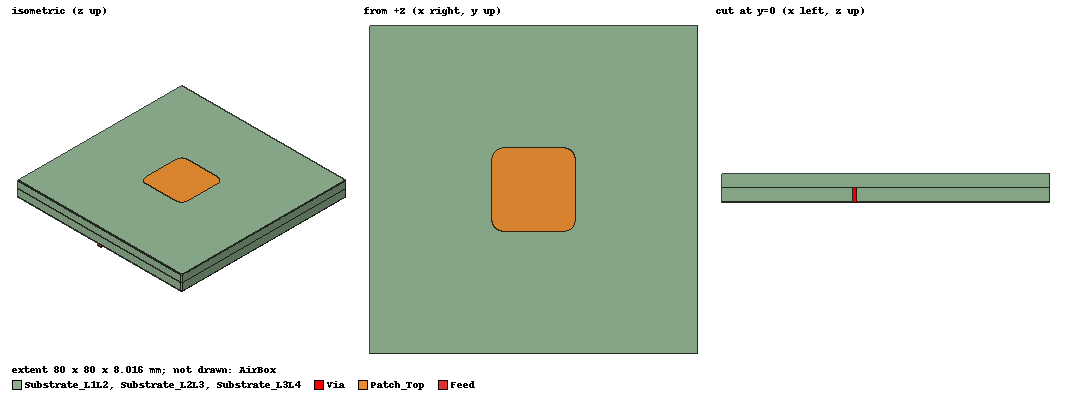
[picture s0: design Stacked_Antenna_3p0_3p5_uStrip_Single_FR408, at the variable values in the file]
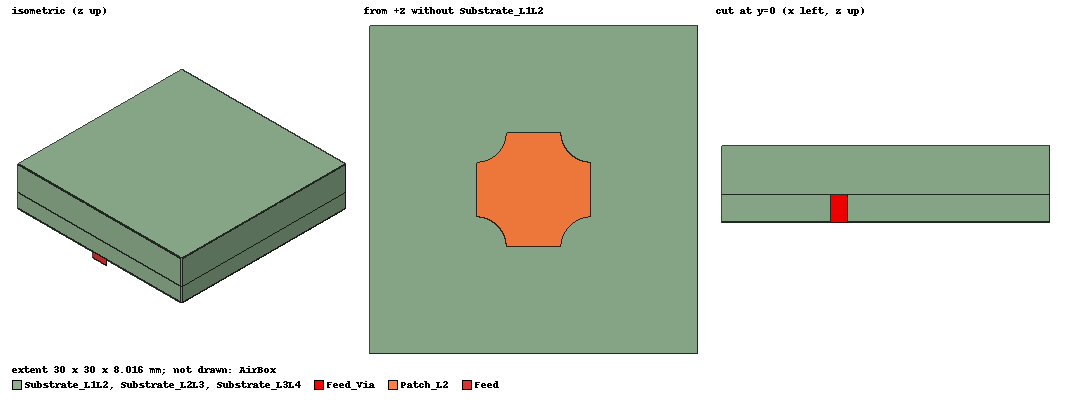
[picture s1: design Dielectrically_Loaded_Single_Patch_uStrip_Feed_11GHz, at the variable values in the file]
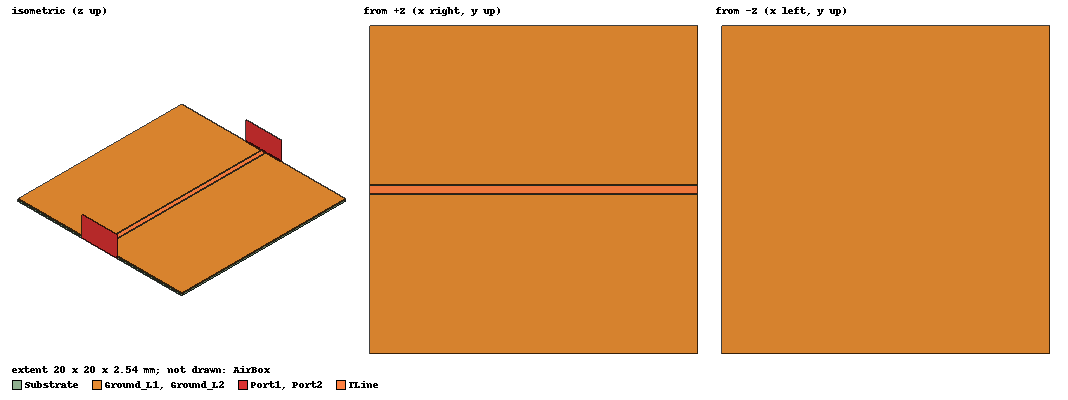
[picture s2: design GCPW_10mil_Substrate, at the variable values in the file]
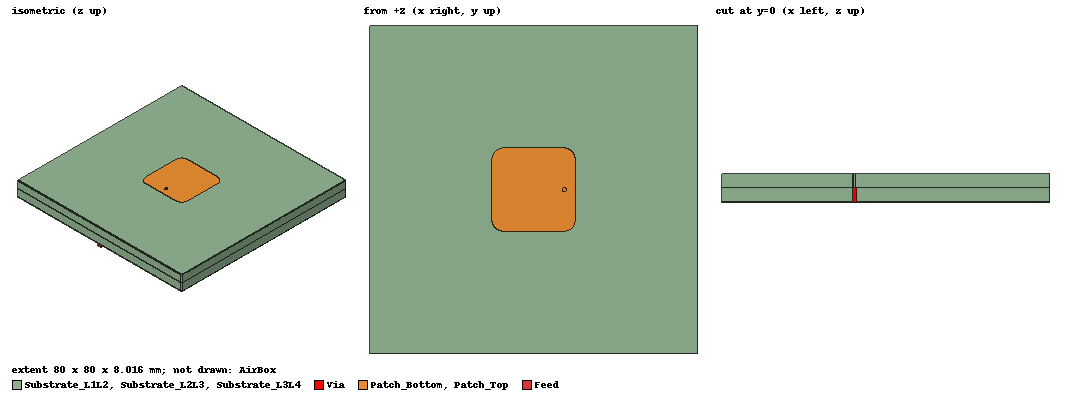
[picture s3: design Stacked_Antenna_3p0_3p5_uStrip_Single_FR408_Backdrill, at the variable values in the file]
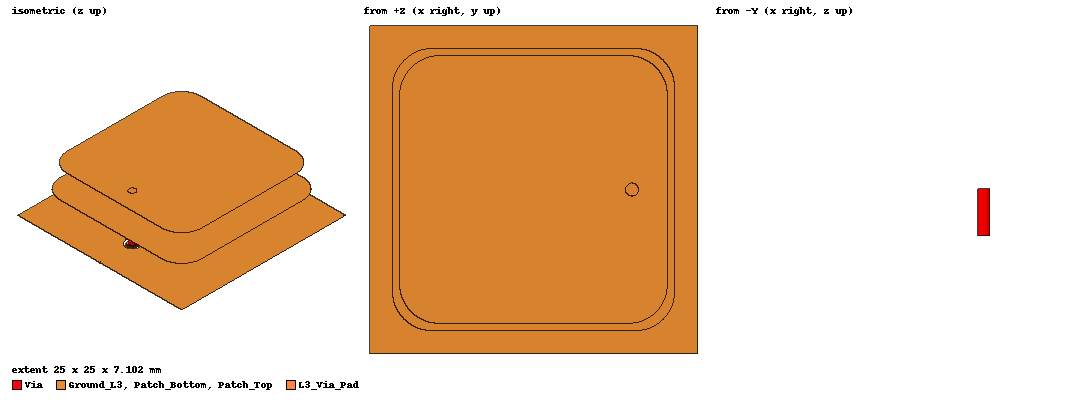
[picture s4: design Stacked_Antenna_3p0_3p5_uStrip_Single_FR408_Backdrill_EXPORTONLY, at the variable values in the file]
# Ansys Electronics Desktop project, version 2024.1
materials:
  vacuum: permittivity=1
  Isola I-Speed (R): permittivity=3.64 dielectric_loss_tangent=0.006
  pec: conductivity=1e+30
  Isola FR408HR: permittivity=3.68 dielectric_loss_tangent=0.0092
  408HR_Lossless: permittivity=3.68
  Rogers RT/duroid 5880 (tm): permittivity=2.2 dielectric_loss_tangent=0.0009

design Stacked_Antenna_3p0_3p5_Pin_Single_I-Speed (HFSS, HFSS Modal Network, model units mm)
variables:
  substrate = 80mm
  h_L1L2 = 3.25mm
  h_L2L3 = 3.25mm
  patch_top = 20.4mm
  patch_top_cutout = 3mm
  patch_bottom = 21.5mm
  patch_bottom_cutout = 3mm
  d_via = 0.8mm
  h_coax = 3mm
  d_coax = 3.92mm
  via_offset = 3.25mm
  h_airbox = 20mm
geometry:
  Substrate_L1L2 [Isola I-Speed (R)] = box(corner=(-substrate/2, -substrate/2, 0mm), size=(substrate, substrate, -h_L1L2))
  Substrate_L2L3 [Isola I-Speed (R)] = box(corner=(-substrate/2, -substrate/2, -h_L1L2), size=(substrate, substrate, -h_L2L3))
  Patch_Top = rectangle(corner=(-patch_top/2, -patch_top/2, 0mm), x_size=patch_top, y_size=patch_top)
  Top_Patch_Cutout = polyline(z=0mm, xy: (-patch_top/2, -patch_top/2) (-patch_top/2, -patch_top/2 + patch_top_cutout) (-patch_top/2 + patch_top_cutout, -patch_top/2) (-patch_top/2, -patch_top/2), closed, covered)
  Top_Patch_Cutout.duplicate_around_axis(axis=Z, angle=90deg, total=4, attached)
  Patch_Top.subtract(Top_Patch_Cutout)
  Circle1 = circle(normal=Z, centre=(-patch_top/2, -patch_top/2, 0mm), radius=patch_top_cutout)
  Circle1.move(patch_top_cutout, patch_top_cutout, 0mm)
  Circle1.duplicate_around_axis(axis=Z, angle=90deg, total=4, attached)
  Patch_Top.unite(Circle1)
  Patch_Bottom = rectangle(corner=(-patch_bottom/2, -patch_bottom/2, -h_L1L2), x_size=patch_bottom, y_size=patch_bottom)
  Polyline1 = polyline(z=-h_L1L2, xy: (-patch_bottom/2, -patch_bottom/2) (-patch_bottom/2, -patch_bottom/2 + patch_bottom_cutout) (-patch_bottom/2 + patch_bottom_cutout, -patch_bottom/2) (-patch_bottom/2, -patch_bottom/2), closed, covered)
  Polyline1.duplicate_around_axis(axis=Z, angle=90deg, total=4, attached)
  Patch_Bottom.subtract(Polyline1)
  Circle2 = circle(normal=Z, centre=(-patch_bottom/2, -patch_bottom/2, -h_L1L2), radius=patch_bottom_cutout)
  Circle2.move(patch_bottom_cutout, patch_bottom_cutout, 0mm)
  Circle2.duplicate_around_axis(axis=Z, angle=90deg, total=4, attached)
  Patch_Bottom.unite(Circle2)
  Via [pec] = cylinder(axis=Z, base_centre=(patch_bottom/2 - via_offset, 0mm, -h_L1L2), radius=d_via/2, height=-h_L2L3-h_coax)
  AirBox [vacuum] = box(corner=(-substrate/2, -substrate/2, -h_airbox/2), size=(substrate, substrate, h_airbox))
  Via_1 = Via.copy()
  Substrate_L2L3.subtract(Via_1)
  coax_dielectric [Isola I-Speed (R)] = cylinder(axis=Z, base_centre=(patch_bottom/2 - via_offset, 0mm, -h_L1L2-h_L2L3), radius=d_coax/2, height=-h_coax)
  Via_2 = Via.copy()
  coax_dielectric.subtract(Via_2)
  Wave_Port = circle(normal=Z, centre=(patch_bottom/2 - via_offset, 0mm, -h_L1L2-h_L2L3-h_coax), radius=d_coax/2)
  pecCap1 [pec] = sweep_along_normal(Wave_Port.face(at (7.5, 0, -9.5)), length=-0.42mm)
  coax_ground_shield = object_from(coax_dielectric.face(side))
  Ground_L3 = rectangle(corner=(-substrate/2, -substrate/2, -h_L1L2-h_L2L3), x_size=substrate, y_size=substrate)
  L3_Ground_Cutout = circle(normal=Z, centre=(patch_bottom/2 - via_offset, 0mm, -h_L1L2-h_L2L3), radius=d_coax/2)
  Ground_L3.subtract(L3_Ground_Cutout)
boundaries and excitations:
  PerfE_Patch_Top: Perfect E Objects=Patch_Top
  PerfE_Patch_Bottom: Perfect E Objects=Patch_Bottom
  Radiation: Radiation Objects=AirBox
  PerfE_Coax_Ground_Shield: Perfect E Objects=coax_ground_shield
  PerfE_Ground_L3: Perfect E Objects=Ground_L3
  1: Wave Port Objects=Wave_Port WavePortType=Modal NumModes=1 Modes{Mode1{CharImp=Zpi}}
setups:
  Setup1: HfssDriven Frequency=4GHz MaxDeltaS=0.01 MaximumPasses=20 MinimumPasses=1 MinimumConvergedPasses=1 PercentRefinement=30 BasisOrder=1 PortAccuracy=2 DrivenSolverType="Direct Solver"
    sweep Sweep: 2GHz to 5GHz, 401 points; Type=Interpolating SaveFields InterpTolerance=0.5 InterpMaxSolns=250 InterpUsePortImped=false PassivityErrorTolerance=0.0001
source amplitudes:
  1:1: 1W 0deg
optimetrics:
  ParametricSetup patch_top: Parametric disabled Sim._Setups=[Setup1]
    sweep patch_top: LIN 19mm 22mm 0.5mm
  ParametricSetup patch_bottom: Parametric disabled Sim._Setups=[Setup1]
    sweep patch_bottom: LIN 20mm 24mm 0.5mm
  ParametricSetup via_offset: Parametric disabled Sim._Setups=[Setup1]
    sweep via_offset: LIN 2mm 4mm 0.25mm
  ParametricSetup top_patch_cutout: Parametric disabled Sim._Setups=[Setup1]
    sweep patch_top_cutout: LIN 1mm 5mm 1mm
  ParametricSetup bottom_patch_cutout: Parametric disabled Sim._Setups=[Setup1]
    sweep patch_bottom_cutout: LIN 1mm 5mm 1mm
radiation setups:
  Infinite Sphere1: Infinite Sphere Theta=0deg..180deg step 2deg Phi=-180deg..180deg step 2deg
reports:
  Nominal: dB(S(1,1)) vs Freq on Setup1 : Sweep; markers m1 at 2.99GHz, m2 at 3.4925GHz
  patch_top: dB(S(1,1)) vs Freq on Setup1 : Sweep [patch_top=all]
  patch_bottom: dB(S(1,1)) vs Freq on Setup1 : Sweep [patch_bottom=all]
  via_offset: dB(S(1,1)) vs Freq on Setup1 : Sweep [via_offset=all]
  top_patch_cutout: dB(S(1,1)) vs Freq on Setup1 : Sweep [patch_top_cutout=all]
  bottom_patch_cutout: dB(S(1,1)) vs Freq on Setup1 : Sweep [patch_bottom_cutout=all]
  Gain Plot 1: GainTotal vs Phi, Theta on Setup1 : Sweep, Infinite Sphere1 [Freq=3.3125GHz]
  Realized Gain Plot 1: dB(RealizedGainTotal) vs Phi, Theta on Setup1 : Sweep, Infinite Sphere1 [Freq=3.3125GHz]

design Stacked_Antenna_3p0_3p5_Pin_Single_FR408 (HFSS, HFSS Modal Network, model units mm)
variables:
  substrate = 80mm
  h_L1L2 = 3.5mm
  h_L2L3 = 3.5mm
  patch_top = 20.4mm
  patch_top_cutout = 3mm
  patch_bottom = 21.5mm
  patch_bottom_cutout = 3mm
  d_via = 0.9mm
  h_coax = 3mm
  d_coax = 4.4mm
  via_offset = 3.25mm
  h_airbox = 30mm
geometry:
  Substrate_L1L2 [Isola FR408HR] = box(corner=(-substrate/2, -substrate/2, 0mm), size=(substrate, substrate, -h_L1L2))
  Substrate_L2L3 [Isola FR408HR] = box(corner=(-substrate/2, -substrate/2, -h_L1L2), size=(substrate, substrate, -h_L2L3))
  Patch_Top = rectangle(corner=(-patch_top/2, -patch_top/2, 0mm), x_size=patch_top, y_size=patch_top)
  Top_Patch_Cutout = polyline(z=0mm, xy: (-patch_top/2, -patch_top/2) (-patch_top/2, -patch_top/2 + patch_top_cutout) (-patch_top/2 + patch_top_cutout, -patch_top/2) (-patch_top/2, -patch_top/2), closed, covered)
  Top_Patch_Cutout.duplicate_around_axis(axis=Z, angle=90deg, total=4, attached)
  Patch_Top.subtract(Top_Patch_Cutout)
  Circle1 = circle(normal=Z, centre=(-patch_top/2, -patch_top/2, 0mm), radius=patch_top_cutout)
  Circle1.move(patch_top_cutout, patch_top_cutout, 0mm)
  Circle1.duplicate_around_axis(axis=Z, angle=90deg, total=4, attached)
  Patch_Top.unite(Circle1)
  Patch_Bottom = rectangle(corner=(-patch_bottom/2, -patch_bottom/2, -h_L1L2), x_size=patch_bottom, y_size=patch_bottom)
  Polyline1 = polyline(z=-h_L1L2, xy: (-patch_bottom/2, -patch_bottom/2) (-patch_bottom/2, -patch_bottom/2 + patch_bottom_cutout) (-patch_bottom/2 + patch_bottom_cutout, -patch_bottom/2) (-patch_bottom/2, -patch_bottom/2), closed, covered)
  Polyline1.duplicate_around_axis(axis=Z, angle=90deg, total=4, attached)
  Patch_Bottom.subtract(Polyline1)
  Circle2 = circle(normal=Z, centre=(-patch_bottom/2, -patch_bottom/2, -h_L1L2), radius=patch_bottom_cutout)
  Circle2.move(patch_bottom_cutout, patch_bottom_cutout, 0mm)
  Circle2.duplicate_around_axis(axis=Z, angle=90deg, total=4, attached)
  Patch_Bottom.unite(Circle2)
  Via [pec] = cylinder(axis=Z, base_centre=(patch_bottom/2 - via_offset, 0mm, -h_L1L2), radius=d_via/2, height=-h_L2L3-h_coax)
  AirBox [vacuum] = box(corner=(-substrate/2, -substrate/2, -h_airbox/2), size=(substrate, substrate, h_airbox))
  Via_1 = Via.copy()
  Substrate_L2L3.subtract(Via_1)
  coax_dielectric [Isola I-Speed (R)] = cylinder(axis=Z, base_centre=(patch_bottom/2 - via_offset, 0mm, -h_L1L2-h_L2L3), radius=d_coax/2, height=-h_coax)
  Via_2 = Via.copy()
  coax_dielectric.subtract(Via_2)
  Wave_Port = circle(normal=Z, centre=(patch_bottom/2 - via_offset, 0mm, -h_L1L2-h_L2L3-h_coax), radius=d_coax/2)
  pecCap1 [pec] = sweep_along_normal(Wave_Port.face(at (7.5, 0, -10)), length=-0.42mm)
  coax_ground_shield = object_from(coax_dielectric.face(side))
  Ground_L3 = rectangle(corner=(-substrate/2, -substrate/2, -h_L1L2-h_L2L3), x_size=substrate, y_size=substrate)
  L3_Ground_Cutout = circle(normal=Z, centre=(patch_bottom/2 - via_offset, 0mm, -h_L1L2-h_L2L3), radius=d_coax/2)
  Ground_L3.subtract(L3_Ground_Cutout)
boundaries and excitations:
  PerfE_Patch_Top: Perfect E Objects=Patch_Top
  PerfE_Patch_Bottom: Perfect E Objects=Patch_Bottom
  Radiation: Radiation Objects=AirBox
  PerfE_Coax_Ground_Shield: Perfect E Objects=coax_ground_shield
  PerfE_Ground_L3: Perfect E Objects=Ground_L3
  1: Wave Port Objects=Wave_Port WavePortType=Modal NumModes=1 Modes{Mode1{CharImp=Zpi}}
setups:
  Setup1: HfssDriven Frequency=3.5GHz MaxDeltaS=0.01 MaximumPasses=40 MinimumPasses=1 MinimumConvergedPasses=1 PercentRefinement=30 BasisOrder=1 PortAccuracy=2 DrivenSolverType="Direct Solver"
    sweep Sweep: 2.5GHz to 4GHz, 401 points; Type=Interpolating SaveFields InterpTolerance=0.5 InterpMaxSolns=250 InterpUsePortImped=false PassivityErrorTolerance=0.0001
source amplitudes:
  1:1: 1W 0deg
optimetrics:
  ParametricSetup patch_top: Parametric disabled Sim._Setups=[Setup1]
    sweep patch_top: LIN 20mm 20.8mm 0.1mm
  ParametricSetup patch_bottom: Parametric disabled Sim._Setups=[Setup1]
    sweep patch_bottom: LIN 21.1mm 21.9mm 0.1mm
  ParametricSetup via_offset: Parametric disabled Sim._Setups=[Setup1]
    sweep via_offset: LIN 3.05mm 3.45mm 0.1mm
  ParametricSetup top_patch_cutout: Parametric disabled Sim._Setups=[Setup1]
    sweep patch_top_cutout: LIN 2.6mm 3.4mm 0.2mm
  ParametricSetup bottom_patch_cutout: Parametric disabled Sim._Setups=[Setup1]
    sweep patch_bottom_cutout: LIN 2.6mm 3.4mm 0.2mm
  ParametricSetup d_via: Parametric disabled Sim._Setups=[Setup1]
    sweep d_via: LIN 0.9mm 1.3mm 0.1mm
  ParametricSetup d_coax: Parametric disabled Sim._Setups=[Setup1]
    sweep d_coax: LIN 3.84mm 4.4mm 0.08mm
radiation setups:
  Infinite Sphere1: Infinite Sphere Theta=0deg..180deg step 2deg Phi=-180deg..180deg step 2deg
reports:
  S Parameter Nominal: dB(S(1,1)) vs Freq on Setup1 : Sweep; markers m1 at 2.9675GHz, m2 at 3.53GHz
  patch_top: dB(S(1,1)) vs Freq on Setup1 : Sweep [patch_top=all]
  patch_bottom: dB(S(1,1)) vs Freq on Setup1 : Sweep [patch_bottom=all]
  via_offset: dB(S(1,1)) vs Freq on Setup1 : Sweep [via_offset=all]
  top_patch_cutout: dB(S(1,1)) vs Freq on Setup1 : Sweep [patch_top_cutout=all]
  bottom_patch_cutout: dB(S(1,1)) vs Freq on Setup1 : Sweep [patch_bottom_cutout=all]
  Smith - patch_top: S(1,1) on Setup1 : Sweep [Freq=all patch_top=all]; markers m1 at 3GHz, m2 at 3.5GHz
  Smith - patch_bottom: S(1,1) on Setup1 : Sweep [Freq=all patch_bottom=all]
  S Parameter - d_via: dB(S(1,1)) vs Freq on Setup1 : Sweep [d_via=all]
  Smith - d_via: S(1,1) on Setup1 : Sweep [Freq=all d_via=all]
  Realized Gain Plot 1: dB(RealizedGainTotal) vs Phi, Theta on Setup1 : Sweep, Infinite Sphere1 [Freq=3.4375GHz]

design Stacked_Antenna_3p0_3p5_uStrip_Single_FR408 (HFSS, HFSS Modal Network, model units mm)
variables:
  substrate = 80mm
  h_L1L2 = 3.5mm
  h_L2L3 = 3.5mm
  patch_top = 20.4mm
  patch_top_cutout = 3mm
  patch_bottom = 21.5mm
  patch_bottom_cutout = 3mm
  d_via = 0.9mm
  h_coax = 3mm
  d_coax = 2mm
  via_offset = 3.25mm
  h_airbox = 30mm
  h_L3L4 = 4mil
  uStrip = 9.4mil
  d_via_small = 6mil
  port_width = 10*uStrip
  d_L3_via_pad = 1.4mm
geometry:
  Substrate_L1L2 [Isola FR408HR] = box(corner=(-substrate/2, -substrate/2, 0mm), size=(substrate, substrate, -h_L1L2))
  Substrate_L2L3 [Isola FR408HR] = box(corner=(-substrate/2, -substrate/2, -h_L1L2), size=(substrate, substrate, -h_L2L3))
  Patch_Top = rectangle(corner=(-patch_top/2, -patch_top/2, 0mm), x_size=patch_top, y_size=patch_top)
  Top_Patch_Cutout = polyline(z=0mm, xy: (-patch_top/2, -patch_top/2) (-patch_top/2, -patch_top/2 + patch_top_cutout) (-patch_top/2 + patch_top_cutout, -patch_top/2) (-patch_top/2, -patch_top/2), closed, covered)
  Top_Patch_Cutout.duplicate_around_axis(axis=Z, angle=90deg, total=4, attached)
  Patch_Top.subtract(Top_Patch_Cutout)
  Circle1 = circle(normal=Z, centre=(-patch_top/2, -patch_top/2, 0mm), radius=patch_top_cutout)
  Circle1.move(patch_top_cutout, patch_top_cutout, 0mm)
  Circle1.duplicate_around_axis(axis=Z, angle=90deg, total=4, attached)
  Patch_Top.unite(Circle1)
  Patch_Bottom = rectangle(corner=(-patch_bottom/2, -patch_bottom/2, -h_L1L2), x_size=patch_bottom, y_size=patch_bottom)
  Polyline1 = polyline(z=-h_L1L2, xy: (-patch_bottom/2, -patch_bottom/2) (-patch_bottom/2, -patch_bottom/2 + patch_bottom_cutout) (-patch_bottom/2 + patch_bottom_cutout, -patch_bottom/2) (-patch_bottom/2, -patch_bottom/2), closed, covered)
  Polyline1.duplicate_around_axis(axis=Z, angle=90deg, total=4, attached)
  Patch_Bottom.subtract(Polyline1)
  Circle2 = circle(normal=Z, centre=(-patch_bottom/2, -patch_bottom/2, -h_L1L2), radius=patch_bottom_cutout)
  Circle2.move(patch_bottom_cutout, patch_bottom_cutout, 0mm)
  Circle2.duplicate_around_axis(axis=Z, angle=90deg, total=4, attached)
  Patch_Bottom.unite(Circle2)
  Via [pec] = cylinder(axis=Z, base_centre=(patch_bottom/2 - via_offset, 0mm, -h_L1L2), radius=d_via/2, height=-h_L2L3-h_L3L4)
  AirBox [vacuum] = box(corner=(-substrate/2, -substrate/2, -h_airbox/2), size=(substrate, substrate, h_airbox))
  Via_1 = Via.copy()
  Substrate_L2L3.subtract(Via_1)
  Ground_L3 = rectangle(corner=(-substrate/2, -substrate/2, -h_L1L2-h_L2L3), x_size=substrate, y_size=substrate)
  L3_Ground_Cutout = circle(normal=Z, centre=(patch_bottom/2 - via_offset, 0mm, -h_L1L2-h_L2L3), radius=d_coax/2)
  Ground_L3.subtract(L3_Ground_Cutout)
  Substrate_L3L4 [Isola I-Speed (R)] = box(corner=(-substrate/2, -substrate/2, -h_L1L2-h_L2L3), size=(substrate, substrate, -h_L3L4))
  Via1 = cylinder(axis=Z, base_centre=(patch_bottom/2 - via_offset, 0mm, -h_L1L2), radius=d_via/2, height=-h_L2L3-h_L3L4)
  Via_2 = Via1.copy()
  Substrate_L3L4.subtract(Via_2)
  Via1.delete()
  uStrip = rectangle(corner=(substrate/2, -uStrip/2, -h_L1L2-h_L2L3-h_L3L4), x_size=-substrate/2+ patch_bottom/2 - via_offset, y_size=uStrip)
  Via_Small [pec, non-model] = cylinder(axis=Z, base_centre=(0, d_coax/2 + d_via_small/2, -h_L1L2-h_L2L3), radius=-d_via_small/2, height=-h_L3L4)
  Via_Small_1..Via_Small_16, Via_Small_20..Via_Small_35 = Via_Small.duplicate_around_axis(axis=Z, angle=10deg, total=36)  # copies kept: 1..16, 20..35
  Via_Small.unite(Via_Small_1..Via_Small_16, Via_Small_20..Via_Small_35)
  Via_Small.move(patch_bottom/2 - via_offset, 0mm, 0mm)
  Feed = rectangle(corner=(substrate/2, -port_width/2, -h_L1L2-h_L2L3), y_size=port_width, z_size=-10*h_L3L4)
  L3_Via_Pad = circle(normal=Z, centre=(patch_bottom/2 - via_offset, 0mm, -h_L1L2-h_L2L3), radius=d_L3_via_pad/2)
  L4_Via_Pad = circle(normal=Z, centre=(patch_bottom/2 - via_offset, 0mm, -h_L1L2-h_L2L3-h_L3L4), radius=d_L3_via_pad/2)
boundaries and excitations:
  PerfE_Patch_Top: Perfect E Objects=Patch_Top
  PerfE_Patch_Bottom: Perfect E Objects=Patch_Bottom
  Radiation: Radiation Objects=AirBox
  PerfE_Ground_L3: Perfect E Objects=Ground_L3
  PerfE_uStrip: Perfect E Objects=uStrip
  PerfE_L3_Via_Pad: Perfect E Objects=L3_Via_Pad
  PerfE_L4_Via_Pad: Perfect E Objects=L4_Via_Pad
  1: Wave Port Objects=Feed WavePortType=Modal NumModes=1 Modes{Mode1{IntLine{(40, 0, -7) -> (40, 0, -8.016)} CharImp=Zpi}}
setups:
  Setup1: HfssDriven Frequency=3.5GHz MaxDeltaS=0.01 MaximumPasses=40 MinimumPasses=1 MinimumConvergedPasses=1 PercentRefinement=30 BasisOrder=1 PortAccuracy=2 DrivenSolverType="Direct Solver"
    sweep Sweep: 2.5GHz to 4GHz, 401 points; Type=Interpolating SaveFields InterpTolerance=0.5 InterpMaxSolns=250 InterpUsePortImped=false PassivityErrorTolerance=0.0001
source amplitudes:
  1:1: 1W 0deg
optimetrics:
  ParametricSetup patch_top: Parametric disabled Sim._Setups=[Setup1]
    sweep patch_top: LIN 20mm 20.8mm 0.1mm
  ParametricSetup patch_bottom: Parametric disabled Sim._Setups=[Setup1]
    sweep patch_bottom: LIN 21.1mm 21.9mm 0.1mm
  ParametricSetup via_offset: Parametric disabled Sim._Setups=[Setup1]
    sweep via_offset: LIN 3.05mm 3.45mm 0.1mm
  ParametricSetup top_patch_cutout: Parametric disabled Sim._Setups=[Setup1]
    sweep patch_top_cutout: LIN 2.6mm 3.4mm 0.2mm
  ParametricSetup bottom_patch_cutout: Parametric disabled Sim._Setups=[Setup1]
    sweep patch_bottom_cutout: LIN 2.6mm 3.4mm 0.2mm
  ParametricSetup d_via: Parametric disabled Sim._Setups=[Setup1]
    sweep d_via: LIN 0.9mm 1.3mm 0.1mm
  ParametricSetup d_coax: Parametric disabled Sim._Setups=[Setup1]
    sweep d_coax: LIN 2mm 3mm 0.2mm
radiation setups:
  Infinite Sphere1: Infinite Sphere Theta=0deg..180deg step 2deg Phi=-180deg..180deg step 2deg
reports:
  S Parameter Plot 1: dB(S(1,1)) vs Freq on Setup1 : Sweep; markers m1 at 2.9725GHz, m2 at 3.5275GHz
  Realized Gain Plot 1: dB(RealizedGainTotal) vs Phi, Theta on Setup1 : Sweep, Infinite Sphere1 [Freq=3.4375GHz]

design Dielectrically_Loaded_Single_Patch_uStrip_Feed_11GHz (HFSS, HFSS Modal Network, model units mm)
options: Allow_Material_Override
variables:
  substrate = 30mm
  h_L1L2 = 4.5mm
  h_L2L3 = 2.5mm
  patch = 10.5mm
  d_cutout = 5.5mm
  via_offset = 1mm
  d_via = 1.5mm
  h_L3L4 = 4mil
  uStrip = 9.4mil
  h_airbox = 20mm
  d_L3_cutout = 2.5mm
  port_width = 10*uStrip
  k = 0.75
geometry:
  Substrate_L1L2 [408HR_Lossless] = box(corner=(-substrate/2, -substrate/2, 0mm), size=(substrate, substrate, -h_L1L2))
  Substrate_L2L3 [408HR_Lossless] = box(corner=(-substrate/2, -substrate/2, -h_L1L2), size=(substrate, substrate, -h_L2L3))
  Patch_L2 = rectangle(corner=(-patch/2, -patch/2, -h_L1L2), x_size=patch, y_size=patch)
  Cutout = circle(normal=Z, centre=(-patch/2, -patch/2, -h_L1L2), radius=d_cutout/2)
  Cutout.duplicate_around_axis(axis=Z, angle=90deg, total=4, attached)
  Patch_L2.subtract(Cutout)
  Feed_Via [pec] = cylinder(axis=Z, base_centre=(patch/2 - via_offset, 0mm, -h_L1L2), radius=d_via/2, height=-h_L2L3 - h_L3L4)
  Substrate_L3L4 [408HR_Lossless] = box(corner=(-substrate/2, -substrate/2, -h_L1L2-h_L2L3), size=(substrate, substrate, -h_L3L4))
  TLine = rectangle(corner=(substrate/2, -uStrip/2, -h_L1L2-h_L2L3-h_L3L4), x_size=-substrate/2 + patch/2 - via_offset, y_size=uStrip)
  AirBox [vacuum] = box(corner=(-substrate/2, -substrate/2, -h_airbox/2), size=(substrate, substrate, h_airbox))
  Ground_L3 = rectangle(corner=(-substrate/2, -substrate/2, -h_L1L2-h_L2L3), x_size=substrate, y_size=substrate)
  L3_Cutout = circle(normal=Z, centre=(patch/2 - via_offset, 0mm, -h_L1L2-h_L2L3), radius=d_L3_cutout/2)
  Ground_L3.subtract(L3_Cutout)
  Feed = rectangle(corner=(substrate/2, -port_width/2, -h_L1L2-h_L2L3), y_size=port_width, z_size=-10*h_L3L4)
  Obs_XZ_Plane [non-model] = rectangle(corner=(-substrate/2, 0mm, -h_airbox/2), z_size=h_airbox, x_size=substrate)
  Cage [pec, non-model] = rectangle(corner=(k*patch, -k*patch, -h_L1L2), y_size=2*k*patch, z_size=-h_L2L3)
  Cage.sweep_along_vector((-0.1mm, 0mm, 0mm))
  Cage_1, Cage_2, Cage_3 = Cage.duplicate_around_axis(axis=Z, angle=90deg, total=4)
  Cage.unite(Cage_1, Cage_2, Cage_3)
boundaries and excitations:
  Radiation: Radiation Objects=AirBox
  PerfE_Ground_L3: Perfect E Objects=Ground_L3
  PerfE_Patch_L2: Perfect E Objects=Patch_L2
  PerfE_TLine: Perfect E Objects=TLine
  1: Wave Port Objects=Feed WavePortType=Modal NumModes=1 Modes{Mode1{IntLine{(15, 0, -7) -> (15, 0, -8.016)} CharImp=Zpi}}
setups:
  Setup1: HfssDriven Frequency=15GHz MaxDeltaS=0.01 MaximumPasses=30 MinimumPasses=1 MinimumConvergedPasses=1 PercentRefinement=30 BasisOrder=1 PortAccuracy=2 DrivenSolverType="Direct Solver"
    sweep Sweep: 5GHz to 17GHz, 401 points; Type=Interpolating SaveFields InterpTolerance=0.5 InterpMaxSolns=250 InterpUsePortImped=false PassivityErrorTolerance=0.0001
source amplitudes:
  1:1: 1W 0deg
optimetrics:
  ParametricSetup patch: Parametric disabled Sim._Setups=[Setup1]
    sweep patch: LIN 10mm 11mm 0.1mm
  ParametricSetup d_cutout: Parametric disabled Sim._Setups=[Setup1]
    sweep d_cutout: LIN 4.5mm 6.5mm 0.2mm
  ParametricSetup d_via: Parametric disabled Sim._Setups=[Setup1]
    sweep d_via: LIN 1.3mm 1.7mm 0.1mm
  ParametricSetup d_L3_cutout: Parametric disabled Sim._Setups=[Setup1]
    sweep d_L3_cutout: LIN 2mm 3mm 0.1mm
  ParametricSetup h_L1L2: Parametric disabled Sim._Setups=[Setup1]
    sweep h_L1L2: LIN 4mm 5mm 0.25mm
  ParametricSetup h_L2L3: Parametric disabled Sim._Setups=[Setup1]
    sweep h_L2L3: LIN 2mm 3mm 0.25mm
  ParametricSetup via_offset: Parametric disabled Sim._Setups=[Setup1]
    sweep via_offset: LIN 0.6mm 1.4mm 0.2mm
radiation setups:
  Infinite Sphere1: Infinite Sphere Theta=-180deg..180deg step 2deg Phi=-180deg..180deg step 2deg
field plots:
  Mag_E1: E Field over a plane on Setup1 : LastAdaptive at Freq=15GHz Phase=0deg
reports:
  S Parameter  - Nominal: dB(S(1,1)) vs Freq on Setup1 : Sweep; markers m1 at 6.31GHz, m2 at 15.27GHz
  S Parameter - patch: dB(S(1,1)) vs Freq on Setup1 : Sweep [patch=all]
  S Parameter - d_cutout: dB(S(1,1)) vs Freq on Setup1 : Sweep [d_cutout=all]
  S Parameter - d_via: dB(S(1,1)) vs Freq on Setup1 : Sweep [d_via=all]
  S Parameter - d_L3_cutout: dB(S(1,1)) vs Freq on Setup1 : Sweep [d_L3_cutout=all]
  S Parameter - h_L1L2: dB(S(1,1)) vs Freq on Setup1 : Sweep [h_L1L2=all]
  S Parameter - h_L2L3: dB(S(1,1)) vs Freq on Setup1 : Sweep [h_L2L3=all]
  S Parameter - via_offset: dB(S(1,1)) vs Freq on Setup1 : Sweep [via_offset=all]
  Gain Plot 1: GainTotal vs Phi, Theta on Setup1 : Sweep, Infinite Sphere1 [Freq=12.125GHz]
  S Parameter Chart 1: S(1,1) on Setup1 : Sweep [Freq=all]
  Sweep theta. Phy is 0 deg: dB(RealizedGainTotal) vs Theta on Setup1 : Sweep, Infinite Sphere1 [Phi=0deg Freq=12.125GHz]
  Sweep theta. Phy is 90 deg: dB(RealizedGainTotal) vs Theta on Setup1 : Sweep, Infinite Sphere1 [Phi=90deg Freq=12.125GHz]; markers m1 at 2deg

design Dielectrically_Loaded_Single_Patch_GCPW_Feed_11GHz (HFSS, HFSS Modal Network, model units mm)
options: Allow_Material_Override
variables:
  substrate = 30mm
  h_L1L2 = 125mil
  h_L2L3 = 90mil
  patch = 9.7mm  # optimise 10mm..11mm; tune 5.25mm..15.75mm
  d_cutout = 5.5mm  # optimise 4.5mm..6.5mm; tune 2.75mm..8.25mm
  via_offset = 2.4mm  # optimise 0.5mm..2mm; tune 0.5mm..1.5mm
  d_via = 45mil  # optimise 20mil..40mil; tune 12.5mil..37.5mil
  h_L3L4 = 20mil
  h_airbox = 40mm
  port_width = 10*gcpw_width
  gcpw_width = 19mil
  gcpw_gap = 4mil
  gap = 22mil  # optimise 10mil..20mil; tune 6mil..18mil
  via_pad_excess = 4mil
  h_ground_shield = 15mm
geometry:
  Substrate_L1L2 [Rogers RT/duroid 5880 (tm)] = box(corner=(-substrate/2, -substrate/2, 0mm), size=(substrate, substrate, -h_L1L2))
  Substrate_L2L3 [408HR_Lossless] = box(corner=(-substrate/2, -substrate/2, -h_L1L2), size=(substrate, substrate, -h_L2L3))
  Patch_L2 = rectangle(corner=(-patch/2, -patch/2, -h_L1L2), x_size=patch, y_size=patch)
  Cutout = circle(normal=Z, centre=(-patch/2, -patch/2, -h_L1L2), radius=d_cutout/2)
  Cutout.duplicate_around_axis(axis=Z, angle=90deg, total=4, attached)
  Patch_L2.subtract(Cutout)
  Feed_Via [pec] = cylinder(axis=Z, base_centre=(patch/2 - via_offset, 0mm, -h_L1L2), radius=d_via/2, height=-h_L2L3 - h_L3L4)
  Substrate_L3L4 [408HR_Lossless] = box(corner=(-substrate/2, -substrate/2, -h_L1L2-h_L2L3), size=(substrate, substrate, -h_L3L4))
  TLine = rectangle(corner=(substrate/2, -gcpw_width/2, -h_L1L2-h_L2L3-h_L3L4), x_size=-substrate/2 + patch/2 - via_offset, y_size=gcpw_width)
  AirBox [vacuum] = box(corner=(-substrate/2, -substrate/2, -h_airbox/2), size=(substrate, substrate, h_airbox))
  Ground_L3 = rectangle(corner=(-substrate/2, -substrate/2, -h_L1L2-h_L2L3), x_size=substrate, y_size=substrate)
  L3_Cutout = circle(normal=Z, centre=(patch/2 - via_offset, 0mm, -h_L1L2-h_L2L3), radius=d_via/2 + via_pad_excess + gap)
  Ground_L3.subtract(L3_Cutout)
  Feed = rectangle(corner=(substrate/2, -port_width/2, -h_L1L2-h_L2L3), y_size=port_width, z_size=-10*h_L3L4)
  Obs_XZ_Plane [non-model] = rectangle(corner=(-substrate/2, 0mm, -h_airbox/2), z_size=h_airbox, x_size=substrate)
  Ground_L4 = rectangle(corner=(-substrate/2, -substrate/2, -h_L1L2-h_L2L3-h_L3L4), x_size=substrate, y_size=substrate)
  Ground_L4_Cutout_Rectangular = rectangle(corner=(substrate/2, -gcpw_width/2 - gcpw_gap, -h_L1L2-h_L2L3-h_L3L4), x_size=-substrate/2 + patch/2 - via_offset, y_size=gcpw_width + 2*gcpw_gap)
  Ground_L4.subtract(Ground_L4_Cutout_Rectangular)
  Ground_L4_Cutout_Circular = circle(normal=Z, centre=(patch/2 - via_offset, 0mm, -h_L1L2-h_L2L3-h_L3L4), radius=d_via/2 + gap + via_pad_excess)
  Ground_L4.subtract(Ground_L4_Cutout_Circular)
  Via_Wall = object_from(Ground_L4.edge(at (8.725, -0.3429, -5.969)))
  Via_Wall.sweep_along_vector((0mm, 0mm, h_L3L4))
  Ground_L4_ObjectFromEdge2 = object_from(Ground_L4.edge(at (1.2181, 0, -5.969)))
  Ground_L4_ObjectFromEdge2.sweep_along_vector((0mm, 0mm, h_L3L4))
  Ground_L4_ObjectFromEdge3 = object_from(Ground_L4.edge(at (8.725, 0.3429, -5.969)))
  Ground_L4_ObjectFromEdge3.sweep_along_vector((0mm, 0mm, h_L3L4))
  Via_Wall.unite(Ground_L4_ObjectFromEdge2, Ground_L4_ObjectFromEdge3)
  Patch_L1 = Patch_L2.duplicate_along_line(step=(0mm, 0mm, h_L1L2), total=2)
  Via_Pad = circle(normal=Z, centre=(patch/2 - via_offset, 0mm, -h_L1L2-h_L2L3-h_L3L4), radius=d_via/2 + via_pad_excess)
  TLine.unite(Via_Pad)
  Ground_Shield_Left = rectangle(corner=(-substrate/2, -substrate/2, 0mm), z_size=-h_ground_shield, x_size=substrate)
  Ground_Shield_Right = rectangle(corner=(-substrate/2, substrate/2, 0mm), z_size=-h_ground_shield, x_size=substrate)
  Ground_Shield_Front = rectangle(corner=(-substrate/2, -substrate/2, 0mm), y_size=substrate, z_size=-h_ground_shield)
  Ground_Shield = rectangle(corner=(-substrate/2, -substrate/2, -h_ground_shield), x_size=substrate, y_size=substrate)
  Ground_Shield.unite(Ground_Shield_Front, Ground_Shield_Left, Ground_Shield_Right)
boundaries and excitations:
  Radiation: Radiation Objects=AirBox
  PerfE_Ground_L3: Perfect E Objects=Ground_L3
  PerfE_Patch_L2: Perfect E Objects=Patch_L2
  PerfE_TLine: Perfect E Objects=TLine
  PerfE_Ground_L4: Perfect E Objects=Ground_L4
  PerfE_Via_Wall: Perfect E Objects=Via_Wall
  PerfE_Patch_L1: Perfect E Objects=Patch_L1
  PerfE_Ground_Shield: Perfect E Objects=Ground_Shield
  1: Wave Port Objects=Feed WavePortType=Modal NumModes=1 Modes{Mode1{IntLine{(15, 0, -5.461) -> (15, 0, -10.541)} CharImp=Zpi}}
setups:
  Setup1: HfssDriven Frequency=15GHz MaxDeltaS=0.01 MaximumPasses=30 MinimumPasses=1 MinimumConvergedPasses=1 PercentRefinement=30 BasisOrder=1 PortAccuracy=2 DrivenSolverType="Direct Solver"
    sweep Sweep: 3GHz to 19GHz, 401 points; Type=Interpolating SaveFields InterpTolerance=0.5 InterpMaxSolns=250 InterpUsePortImped=false PassivityErrorTolerance=0.0001
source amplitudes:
  1:1: 1W 0deg
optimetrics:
  ParametricSetup patch: Parametric disabled Sim._Setups=[Setup1]
    sweep patch: LIN 9.1mm 11.1mm 0.2mm
  ParametricSetup d_via: Parametric disabled Sim._Setups=[Setup1]
    sweep d_via: LIN 30mil 60mil 5mil
  ParametricSetup gap: Parametric disabled Sim._Setups=[Setup1]
    sweep gap: LIN 8mil 26mil 2mil
  ParametricSetup h_L1L2: Parametric disabled Sim._Setups=[Setup1]
    sweep h_L1L2: LIN 125mil 250mil 25mil
  ParametricSetup h_L2L3: Parametric disabled Sim._Setups=[Setup1]
    sweep h_L2L3: LIN 40mil 110mil 10mil
  ParametricSetup via_offset: Parametric disabled Sim._Setups=[Setup1]
    sweep via_offset: LIN 0mm 3.2mm 0.2mm
  ParametricSetup d_cutout: Parametric disabled Sim._Setups=[Setup1]
    sweep d_cutout: LIN 3.5mm 11mm 0.5mm
  OptimizationSetup1: Optimization disabled Optimizer="DX MOGA" AnalysisStopOptions{StopForNumIteration MaxNumIteration=2100 MinNumIteration=10} CostFuncNormType=L2 Acceptable_Cost=0 Noise=0.0001
    vary d_cutout: Min=4.5mm Max=6.5mm MinStep=0.055mm MaxStep=0.55mm MinFocus=4.5mm MaxFocus=6.5mm start=5.5mm
    vary d_via: Min=20mil Max=40mil MinStep=0.25mil MaxStep=2.5mil MinFocus=20mil MaxFocus=40mil start=25mil
    vary gap: Min=10mil Max=20mil MinStep=0.12mil MaxStep=1.2mil MinFocus=10mil MaxFocus=20mil start=12mil
    vary patch: Min=10mm Max=11mm MinStep=0.105mm MaxStep=1.05mm MinFocus=10mm MaxFocus=11mm start=10.5mm
    vary via_offset: Min=0.5mm Max=2mm MinStep=0.01mm MaxStep=0.1mm MinFocus=0.5mm MaxFocus=2mm start=1mm
    goal max(dB(S(1,1))) Minimize 0 weight 1 on Setup1 : Sweep at Freq 7GHz to 15GHz
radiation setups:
  Infinite Sphere1: Infinite Sphere Theta=-180deg..180deg step 2deg Phi=-180deg..180deg step 2deg
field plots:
  Mag_E1: E Field over a plane on Setup1 : Sweep at Freq=11GHz Phase=0deg
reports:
  S Parameter - Nominal: dB(S(1,1)) vs Freq on Setup1 : Sweep; markers m1 at 7GHz, m2 at 15GHz
  S Parameter - patch: dB(S(1,1)) vs Freq on Setup1 : Sweep [patch=all]
  S Parameter - d_via: dB(S(1,1)) vs Freq on Setup1 : Sweep [d_via=all]
  S Parameter - h_L1L2: dB(S(1,1)) vs Freq on Setup1 : Sweep [h_L1L2=all]
  S Parameter - h_L2L3: dB(S(1,1)) vs Freq on Setup1 : Sweep [h_L2L3=all]
  S Parameter - via_offset: dB(S(1,1)) vs Freq on Setup1 : Sweep [via_offset=all]
  S Parameter - gap: dB(S(1,1)) vs Freq on Setup1 : Sweep [gap=all]
  S Parameter - d_cutout: dB(S(1,1)) vs Freq on Setup1 : Sweep [d_cutout=all]
  Realized Gain XZ: dB(RealizedGainTotal) vs Theta on Setup1 : Sweep, Infinite Sphere1 [Phi=0deg Freq=11GHz]
  Realized Gain YZ: dB(RealizedGainTotal) vs Theta on Setup1 : Sweep, Infinite Sphere1 [Phi=90deg Freq=11GHz]
  Realized Gain Plot 1: dB(RealizedGainTotal) vs Phi, Theta on Setup1 : Sweep, Infinite Sphere1 [Freq=12GHz]

design GCPW_10mil_Substrate (HFSS, HFSS Modal Network, model units mm)
options: Allow_Material_Override
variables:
  substrate = 20mm
  h_L1L2 = 10mil
  gcpw_width = 17mil
  gcpw_gap = 4mil
  h_airbox = 10mm
  port_width = 10*gcpw_width
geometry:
  Substrate [Isola FR408HR] = box(corner=(-substrate/2, -substrate/2, 0mm), size=(substrate, substrate, -h_L1L2))
  TLine = rectangle(corner=(-substrate/2, -gcpw_width/2, 0mm), x_size=substrate, y_size=gcpw_width)
  Ground_Cutout = rectangle(corner=(-substrate/2, -gcpw_width/2 - gcpw_gap, 0mm), x_size=substrate, y_size=2*gcpw_gap + gcpw_width)
  Ground_L1 = rectangle(corner=(-substrate/2, -substrate/2, 0mm), x_size=substrate, y_size=substrate)
  Ground_L1.subtract(Ground_Cutout)
  Ground_L2 = rectangle(corner=(-substrate/2, -substrate/2, -h_L1L2), x_size=substrate, y_size=substrate)
  Via_Wall = rectangle(corner=(-substrate/2, -gcpw_width/2 - gcpw_gap, 0mm), z_size=-h_L1L2, x_size=substrate)
  Via_Wall1 = rectangle(corner=(-substrate/2, gcpw_width/2 + gcpw_gap, 0mm), z_size=-h_L1L2, x_size=substrate)
  Via_Wall.unite(Via_Wall1)
  AirBox [vacuum] = box(corner=(-substrate/2, -substrate/2, -h_airbox/2), size=(substrate, substrate, h_airbox))
  Port1 = rectangle(corner=(substrate/2, -port_width/2, -h_L1L2), y_size=port_width, z_size=10*h_L1L2)
  Port2 = rectangle(corner=(-substrate/2, -port_width/2, -h_L1L2), y_size=port_width, z_size=10*h_L1L2)
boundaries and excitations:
  Radiation: Radiation Objects=AirBox
  PerfE_Ground_L1: Perfect E Objects=Ground_L1
  PerfE_Ground_L2: Perfect E Objects=Ground_L2
  PerfE_TLine: Perfect E Objects=TLine
  PerfE_Via_Wall: Perfect E Objects=Via_Wall
  1: Wave Port Objects=Port1 WavePortType=Modal NumModes=1 Modes{Mode1{IntLine{(10, 0, -0.254) -> (10, 0, 2.286)} CharImp=Zpi}}
  2: Wave Port Objects=Port2 WavePortType=Modal NumModes=1 Modes{Mode1{IntLine{(-10, 0, -0.254) -> (-10, 0, 2.286)} CharImp=Zpi}}
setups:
  Setup1: HfssDriven Frequency=15GHz MaxDeltaS=0.01 MaximumPasses=16 MinimumPasses=1 MinimumConvergedPasses=1 PercentRefinement=30 BasisOrder=1 PortAccuracy=2 DrivenSolverType="Direct Solver"
    sweep Sweep: 2GHz to 18GHz, 401 points; Type=Interpolating InterpTolerance=0.5 InterpMaxSolns=250 InterpUseS=false
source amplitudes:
  1:1: 1W 0deg
  2:1: 0W 0deg

design Stacked_Antenna_3p0_3p5_uStrip_Single_FR408_Backdrill (HFSS, HFSS Modal Network, model units mm)
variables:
  substrate = 80mm
  h_L1L2 = 3.5mm
  h_L2L3 = 3.5mm
  patch_top = 20.4mm
  patch_top_cutout = 3mm
  patch_bottom = 21.5mm
  patch_bottom_cutout = 3mm
  d_via = 0.9mm
  h_coax = 3mm
  d_coax = 2mm
  via_offset = 3.25mm
  h_airbox = 30mm
  h_L3L4 = 4mil
  uStrip = 9.4mil
  d_via_small = 6mil
  port_width = 10*uStrip
  d_L3_via_pad = 1.4mm
  d_drill = 1mm
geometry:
  Substrate_L1L2 [Isola FR408HR] = box(corner=(-substrate/2, -substrate/2, 0mm), size=(substrate, substrate, -h_L1L2))
  Substrate_L2L3 [Isola FR408HR] = box(corner=(-substrate/2, -substrate/2, -h_L1L2), size=(substrate, substrate, -h_L2L3))
  Patch_Top = rectangle(corner=(-patch_top/2, -patch_top/2, 0mm), x_size=patch_top, y_size=patch_top)
  Top_Patch_Cutout = polyline(z=0mm, xy: (-patch_top/2, -patch_top/2) (-patch_top/2, -patch_top/2 + patch_top_cutout) (-patch_top/2 + patch_top_cutout, -patch_top/2) (-patch_top/2, -patch_top/2), closed, covered)
  Top_Patch_Cutout.duplicate_around_axis(axis=Z, angle=90deg, total=4, attached)
  Patch_Top.subtract(Top_Patch_Cutout)
  Circle1 = circle(normal=Z, centre=(-patch_top/2, -patch_top/2, 0mm), radius=patch_top_cutout)
  Circle1.move(patch_top_cutout, patch_top_cutout, 0mm)
  Circle1.duplicate_around_axis(axis=Z, angle=90deg, total=4, attached)
  Patch_Top.unite(Circle1)
  Patch_Bottom = rectangle(corner=(-patch_bottom/2, -patch_bottom/2, -h_L1L2), x_size=patch_bottom, y_size=patch_bottom)
  Polyline1 = polyline(z=-h_L1L2, xy: (-patch_bottom/2, -patch_bottom/2) (-patch_bottom/2, -patch_bottom/2 + patch_bottom_cutout) (-patch_bottom/2 + patch_bottom_cutout, -patch_bottom/2) (-patch_bottom/2, -patch_bottom/2), closed, covered)
  Polyline1.duplicate_around_axis(axis=Z, angle=90deg, total=4, attached)
  Patch_Bottom.subtract(Polyline1)
  Circle2 = circle(normal=Z, centre=(-patch_bottom/2, -patch_bottom/2, -h_L1L2), radius=patch_bottom_cutout)
  Circle2.move(patch_bottom_cutout, patch_bottom_cutout, 0mm)
  Circle2.duplicate_around_axis(axis=Z, angle=90deg, total=4, attached)
  Patch_Bottom.unite(Circle2)
  Via [pec] = cylinder(axis=Z, base_centre=(patch_bottom/2 - via_offset, 0mm, -h_L1L2), radius=d_via/2, height=-h_L2L3-h_L3L4)
  AirBox [vacuum] = box(corner=(-substrate/2, -substrate/2, -h_airbox/2), size=(substrate, substrate, h_airbox))
  Via_1 = Via.copy()
  Substrate_L2L3.subtract(Via_1)
  Ground_L3 = rectangle(corner=(-substrate/2, -substrate/2, -h_L1L2-h_L2L3), x_size=substrate, y_size=substrate)
  L3_Ground_Cutout = circle(normal=Z, centre=(patch_bottom/2 - via_offset, 0mm, -h_L1L2-h_L2L3), radius=d_coax/2)
  Ground_L3.subtract(L3_Ground_Cutout)
  Substrate_L3L4 [Isola FR408HR] = box(corner=(-substrate/2, -substrate/2, -h_L1L2-h_L2L3), size=(substrate, substrate, -h_L3L4))
  Via1 = cylinder(axis=Z, base_centre=(patch_bottom/2 - via_offset, 0mm, -h_L1L2), radius=d_via/2, height=-h_L2L3-h_L3L4)
  Via_2 = Via1.copy()
  Substrate_L3L4.subtract(Via_2)
  Via1.delete()
  uStrip = rectangle(corner=(substrate/2, -uStrip/2, -h_L1L2-h_L2L3-h_L3L4), x_size=-substrate/2+ patch_bottom/2 - via_offset, y_size=uStrip)
  Feed = rectangle(corner=(substrate/2, -port_width/2, -h_L1L2-h_L2L3), y_size=port_width, z_size=-10*h_L3L4)
  L3_Via_Pad = circle(normal=Z, centre=(patch_bottom/2 - via_offset, 0mm, -h_L1L2-h_L2L3), radius=d_L3_via_pad/2)
  L4_Via_Pad = circle(normal=Z, centre=(patch_bottom/2 - via_offset, 0mm, -h_L1L2-h_L2L3-h_L3L4), radius=d_L3_via_pad/2)
  Cutout [vacuum, non-model] = cylinder(axis=Z, base_centre=(patch_bottom/2 - via_offset, 0mm, 0mm), radius=d_drill/2, height=-h_L1L2)
  Cutout_1 = Cutout.copy()
  Substrate_L1L2.subtract(Cutout_1)
  Cutout_2 = Cutout.copy()
  Patch_Top.subtract(Cutout_2)
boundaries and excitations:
  PerfE_Patch_Top: Perfect E Objects=Patch_Top
  PerfE_Patch_Bottom: Perfect E Objects=Patch_Bottom
  Radiation: Radiation Objects=AirBox
  PerfE_Ground_L3: Perfect E Objects=Ground_L3
  PerfE_uStrip: Perfect E Objects=uStrip
  PerfE_L3_Via_Pad: Perfect E Objects=L3_Via_Pad
  PerfE_L4_Via_Pad: Perfect E Objects=L4_Via_Pad
  1: Wave Port Objects=Feed WavePortType=Modal NumModes=1 Modes{Mode1{IntLine{(40, 0, -7) -> (40, 0, -8.016)} CharImp=Zpi}}
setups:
  Setup1: HfssDriven Frequency=3.5GHz MaxDeltaS=0.01 MaximumPasses=40 MinimumPasses=1 MinimumConvergedPasses=1 PercentRefinement=30 BasisOrder=1 PortAccuracy=2 DrivenSolverType="Direct Solver"
    sweep Sweep: 2.5GHz to 4GHz, 401 points; Type=Interpolating SaveFields InterpTolerance=0.5 InterpMaxSolns=250 InterpUsePortImped=false PassivityErrorTolerance=0.0001
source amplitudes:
  1:1: 1W 0deg
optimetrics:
  ParametricSetup patch_top: Parametric disabled Sim._Setups=[Setup1]
    sweep patch_top: LIN 20mm 20.8mm 0.1mm
  ParametricSetup patch_bottom: Parametric disabled Sim._Setups=[Setup1]
    sweep patch_bottom: LIN 21.1mm 21.9mm 0.1mm
  ParametricSetup via_offset: Parametric disabled Sim._Setups=[Setup1]
    sweep via_offset: LIN 3.05mm 3.45mm 0.1mm
  ParametricSetup top_patch_cutout: Parametric disabled Sim._Setups=[Setup1]
    sweep patch_top_cutout: LIN 2.6mm 3.4mm 0.2mm
  ParametricSetup bottom_patch_cutout: Parametric disabled Sim._Setups=[Setup1]
    sweep patch_bottom_cutout: LIN 2.6mm 3.4mm 0.2mm
  ParametricSetup d_via: Parametric disabled Sim._Setups=[Setup1]
    sweep d_via: LIN 0.9mm 1.3mm 0.1mm
  ParametricSetup d_coax: Parametric disabled Sim._Setups=[Setup1]
    sweep d_coax: LIN 2mm 3mm 0.2mm
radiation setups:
  Infinite Sphere1: Infinite Sphere Theta=0deg..180deg step 2deg Phi=-180deg..180deg step 2deg
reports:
  S Parameter Plot 1: dB(S(1,1)) vs Freq on Setup1 : Sweep; markers m1 at 2.98GHz, m2 at 3.535GHz
  Realized Gain Plot 1: dB(RealizedGainTotal) vs Phi, Theta on Setup1 : Sweep, Infinite Sphere1 [Freq=3.4375GHz]

design Stacked_Antenna_3p0_3p5_uStrip_Single_FR408_Backdrill_EXPORTONLY (HFSS, HFSS Modal Network, model units mm)
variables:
  substrate = 25mm
  h_L1L2 = 3.5mm
  h_L2L3 = 3.5mm
  patch_top = 20.4mm
  patch_top_cutout = 3mm
  patch_bottom = 21.5mm
  patch_bottom_cutout = 3mm
  d_via = 0.9mm
  h_coax = 3mm
  d_coax = 2mm
  via_offset = 3.25mm
  h_airbox = 30mm
  h_L3L4 = 4mil
  uStrip = 9.4mil
  d_via_small = 6mil
  port_width = 10*uStrip
  d_L3_via_pad = 1.4mm
  d_drill = 1mm
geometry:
  Patch_Top = rectangle(corner=(-patch_top/2, -patch_top/2, 0mm), x_size=patch_top, y_size=patch_top)
  Top_Patch_Cutout = polyline(z=0mm, xy: (-patch_top/2, -patch_top/2) (-patch_top/2, -patch_top/2 + patch_top_cutout) (-patch_top/2 + patch_top_cutout, -patch_top/2) (-patch_top/2, -patch_top/2), closed, covered)
  Top_Patch_Cutout.duplicate_around_axis(axis=Z, angle=90deg, total=4, attached)
  Patch_Top.subtract(Top_Patch_Cutout)
  Circle1 = circle(normal=Z, centre=(-patch_top/2, -patch_top/2, 0mm), radius=patch_top_cutout)
  Circle1.move(patch_top_cutout, patch_top_cutout, 0mm)
  Circle1.duplicate_around_axis(axis=Z, angle=90deg, total=4, attached)
  Patch_Top.unite(Circle1)
  Patch_Bottom = rectangle(corner=(-patch_bottom/2, -patch_bottom/2, -h_L1L2), x_size=patch_bottom, y_size=patch_bottom)
  Polyline1 = polyline(z=-h_L1L2, xy: (-patch_bottom/2, -patch_bottom/2) (-patch_bottom/2, -patch_bottom/2 + patch_bottom_cutout) (-patch_bottom/2 + patch_bottom_cutout, -patch_bottom/2) (-patch_bottom/2, -patch_bottom/2), closed, covered)
  Polyline1.duplicate_around_axis(axis=Z, angle=90deg, total=4, attached)
  Patch_Bottom.subtract(Polyline1)
  Circle2 = circle(normal=Z, centre=(-patch_bottom/2, -patch_bottom/2, -h_L1L2), radius=patch_bottom_cutout)
  Circle2.move(patch_bottom_cutout, patch_bottom_cutout, 0mm)
  Circle2.duplicate_around_axis(axis=Z, angle=90deg, total=4, attached)
  Patch_Bottom.unite(Circle2)
  Via [pec] = cylinder(axis=Z, base_centre=(patch_bottom/2 - via_offset, 0mm, -h_L1L2), radius=d_via/2, height=-h_L2L3-h_L3L4)
  Ground_L3 = rectangle(corner=(-substrate/2, -substrate/2, -h_L1L2-h_L2L3), x_size=substrate, y_size=substrate)
  L3_Ground_Cutout = circle(normal=Z, centre=(patch_bottom/2 - via_offset, 0mm, -h_L1L2-h_L2L3), radius=d_coax/2)
  Ground_L3.subtract(L3_Ground_Cutout)
  uStrip = rectangle(corner=(substrate/2, -uStrip/2, -h_L1L2-h_L2L3-h_L3L4), x_size=-substrate/2+ patch_bottom/2 - via_offset, y_size=uStrip)
  L3_Via_Pad = circle(normal=Z, centre=(patch_bottom/2 - via_offset, 0mm, -h_L1L2-h_L2L3), radius=d_L3_via_pad/2)
  L4_Via_Pad = circle(normal=Z, centre=(patch_bottom/2 - via_offset, 0mm, -h_L1L2-h_L2L3-h_L3L4), radius=d_L3_via_pad/2)
  Cutout = cylinder(axis=Z, base_centre=(patch_bottom/2 - via_offset, 0mm, 0mm), radius=d_drill/2, height=-h_L1L2)
  Cutout_2 = Cutout.copy()
  Cutout.delete()
  Patch_Top.subtract(Cutout_2)
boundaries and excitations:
  PerfE_Patch_Top: Perfect E Objects=Patch_Top
  PerfE_Patch_Bottom: Perfect E Objects=Patch_Bottom
  PerfE_Ground_L3: Perfect E Objects=Ground_L3
  PerfE_uStrip: Perfect E Objects=uStrip
  PerfE_L3_Via_Pad: Perfect E Objects=L3_Via_Pad
  PerfE_L4_Via_Pad: Perfect E Objects=L4_Via_Pad
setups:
  Setup1: HfssDriven Frequency=3.5GHz MaxDeltaE=0.1 MaximumPasses=40 MinimumPasses=1 MinimumConvergedPasses=1 PercentRefinement=30 BasisOrder=1 DrivenSolverType="Direct Solver"
    sweep Sweep: 2.5GHz to 4GHz, 401 points; Type=Interpolating SaveFields InterpTolerance=0.5 InterpMaxSolns=250 InterpUsePortImped=false PassivityErrorTolerance=0.0001
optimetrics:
  ParametricSetup patch_top: Parametric disabled Sim._Setups=[Setup1]
    sweep patch_top: LIN 20mm 20.8mm 0.1mm
  ParametricSetup patch_bottom: Parametric disabled Sim._Setups=[Setup1]
    sweep patch_bottom: LIN 21.1mm 21.9mm 0.1mm
  ParametricSetup via_offset: Parametric disabled Sim._Setups=[Setup1]
    sweep via_offset: LIN 3.05mm 3.45mm 0.1mm
  ParametricSetup top_patch_cutout: Parametric disabled Sim._Setups=[Setup1]
    sweep patch_top_cutout: LIN 2.6mm 3.4mm 0.2mm
  ParametricSetup bottom_patch_cutout: Parametric disabled Sim._Setups=[Setup1]
    sweep patch_bottom_cutout: LIN 2.6mm 3.4mm 0.2mm
  ParametricSetup d_via: Parametric disabled Sim._Setups=[Setup1]
    sweep d_via: LIN 0.9mm 1.3mm 0.1mm
  ParametricSetup d_coax: Parametric disabled Sim._Setups=[Setup1]
    sweep d_coax: LIN 2mm 3mm 0.2mm
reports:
  S Parameter Plot 1: dB(S(1,1)) vs Freq on Setup1 : Sweep; markers m1 at 2.98GHz, m2 at 3.535GHz
